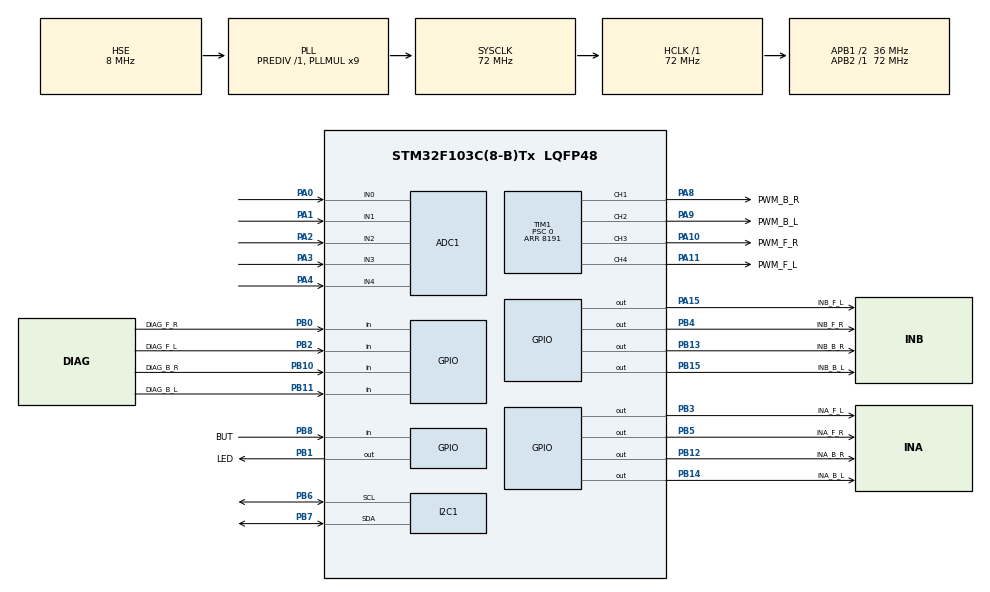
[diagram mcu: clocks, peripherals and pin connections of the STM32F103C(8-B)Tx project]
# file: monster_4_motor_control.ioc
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ADC1.Channel-0\#ChannelRegularConversion=ADC_CHANNEL_0
ADC1.Channel-1\#ChannelRegularConversion=ADC_CHANNEL_1
ADC1.Channel-2\#ChannelRegularConversion=ADC_CHANNEL_2
ADC1.Channel-3\#ChannelRegularConversion=ADC_CHANNEL_3
ADC1.Channel-4\#ChannelRegularConversion=ADC_CHANNEL_4
ADC1.ContinuousConvMode=DISABLE
ADC1.DataAlign=ADC_DATAALIGN_RIGHT
ADC1.DiscontinuousConvMode=DISABLE
ADC1.EnableAnalogWatchDog=false
ADC1.EnableRegularConversion=ENABLE
ADC1.ExternalTrigConv=ADC_SOFTWARE_START
ADC1.InjNumberOfConversion=0
ADC1.NbrOfConversion=5
ADC1.NbrOfConversionFlag=1
ADC1.Rank-0\#ChannelRegularConversion=1
ADC1.Rank-1\#ChannelRegularConversion=2
ADC1.Rank-2\#ChannelRegularConversion=3
ADC1.Rank-3\#ChannelRegularConversion=4
ADC1.Rank-4\#ChannelRegularConversion=5
ADC1.SamplingTime-0\#ChannelRegularConversion=ADC_SAMPLETIME_7CYCLES_5
ADC1.SamplingTime-1\#ChannelRegularConversion=ADC_SAMPLETIME_7CYCLES_5
ADC1.SamplingTime-2\#ChannelRegularConversion=ADC_SAMPLETIME_7CYCLES_5
ADC1.SamplingTime-3\#ChannelRegularConversion=ADC_SAMPLETIME_7CYCLES_5
ADC1.SamplingTime-4\#ChannelRegularConversion=ADC_SAMPLETIME_7CYCLES_5
ADC1.ScanConvMode=ADC_SCAN_ENABLE
ADC1.master=1
Dma.ADC1.0.Direction=DMA_PERIPH_TO_MEMORY
Dma.ADC1.0.Instance=DMA1_Channel1
Dma.ADC1.0.MemDataAlignment=DMA_MDATAALIGN_HALFWORD
Dma.ADC1.0.MemInc=DMA_MINC_ENABLE
Dma.ADC1.0.Mode=DMA_NORMAL
Dma.ADC1.0.PeriphDataAlignment=DMA_PDATAALIGN_HALFWORD
Dma.ADC1.0.PeriphInc=DMA_PINC_DISABLE
Dma.ADC1.0.Priority=DMA_PRIORITY_LOW
Dma.Request0=ADC1
FREERTOS.BinarySemaphores01=SysIdBinarySem,Static,SysIdBinarySemControlBlock;ControlBinarySem,Static,ControlBinarySemControlBlock;i2cBinarySem,Static,i2cBinarySemControlBlock
FREERTOS.INCLUDE_vTaskDelayUntil=0
FREERTOS.MEMORY_ALLOCATION=1
FREERTOS.Tasks01=ControlTask,1,512,StartControlTask,Default,NULL,Static,ControlTaskBuffer,ControlTaskControlBlock;SysIdTask,0,1024,StartSysIdTask,Default,NULL,Static,SysIdTaskBuffer,SysIdTaskControlBlock;I2CTask,-1,256,StartI2CTask,Default,NULL,Static,I2CTaskBuffer,I2CTaskControlBlock
I2C1.GeneralCallMode=I2C_GENERALCALL_ENABLE
I2C1.OwnAddress=15
Mcu.Family=STM32F1
Mcu.Name=STM32F103C(8-B)Tx
Mcu.Package=LQFP48
NVIC.DMA1_Channel1_IRQn=true\:5\:0\:false\:false\:true\:true\:false
NVIC.I2C1_ER_IRQn=true\:5\:0\:false\:false\:true\:true\:true
NVIC.I2C1_EV_IRQn=true\:5\:0\:false\:false\:true\:true\:true
NVIC.PriorityGroup=NVIC_PRIORITYGROUP_4
NVIC.TIM3_IRQn=true\:5\:0\:false\:false\:true\:true\:true
NVIC.TIM4_IRQn=true\:0\:0\:false\:false\:true\:false\:false
NVIC.TimeBase=TIM4_IRQn
NVIC.TimeBaseIP=TIM4
PA0-WKUP.Signal=ADCx_IN0
PA1.Signal=ADCx_IN1
PA10.GPIO_Label=PWM_F_R
PA10.GPIO_Speed=GPIO_SPEED_FREQ_MEDIUM
PA10.Signal=S_TIM1_CH3
PA11.GPIO_Label=PWM_F_L
PA11.GPIO_Speed=GPIO_SPEED_FREQ_MEDIUM
PA11.Signal=S_TIM1_CH4
PA13.Mode=Serial_Wire
PA13.Signal=SYS_JTMS-SWDIO
PA14.Mode=Serial_Wire
PA14.Signal=SYS_JTCK-SWCLK
PA15.GPIO_Label=INB_F_L
PA15.Signal=GPIO_Output
PA2.Signal=ADCx_IN2
PA3.Signal=ADCx_IN3
PA4.Signal=ADCx_IN4
PA8.GPIO_Label=PWM_B_R
PA8.GPIO_Speed=GPIO_SPEED_FREQ_MEDIUM
PA8.Signal=S_TIM1_CH1
PA9.GPIO_Label=PWM_B_L
PA9.GPIO_Speed=GPIO_SPEED_FREQ_MEDIUM
PA9.Signal=S_TIM1_CH2
PB0.GPIO_Label=DIAG_F_R
PB0.Signal=GPIO_Input
PB1.GPIO_Label=LED
PB1.Signal=GPIO_Output
PB10.GPIO_Label=DIAG_B_R
PB10.Signal=GPIO_Input
PB11.GPIO_Label=DIAG_B_L
PB11.Signal=GPIO_Input
PB12.GPIO_Label=INA_B_R
PB12.Signal=GPIO_Output
PB13.GPIO_Label=INB_B_R
PB13.Signal=GPIO_Output
PB14.GPIO_Label=INA_B_L
PB14.Signal=GPIO_Output
PB15.GPIO_Label=INB_B_L
PB15.Signal=GPIO_Output
PB2.GPIO_Label=DIAG_F_L
PB2.Signal=GPIO_Input
PB3.GPIO_Label=INA_F_L
PB3.Signal=GPIO_Output
PB4.GPIO_Label=INB_F_R
PB4.Signal=GPIO_Output
PB5.GPIO_Label=INA_F_R
PB5.Signal=GPIO_Output
PB6.Mode=I2C
PB6.Signal=I2C1_SCL
PB7.Mode=I2C
PB7.Signal=I2C1_SDA
PB8.GPIO_Label=BUT
PB8.Signal=GPIO_Input
PD0-OSC_IN.Mode=HSE-External-Oscillator
PD0-OSC_IN.Signal=RCC_OSC_IN
PD1-OSC_OUT.Mode=HSE-External-Oscillator
PD1-OSC_OUT.Signal=RCC_OSC_OUT
ProjectManager.HeapSize=0x200
ProjectManager.StackSize=0x400
ProjectManager.TargetToolchain=MDK-ARM V5
RCC.ADCPresc=RCC_ADCPCLK2_DIV6
RCC.AHBFreq_Value=72000000
RCC.APB1CLKDivider=RCC_HCLK_DIV2
RCC.APB1Freq_Value=36000000
RCC.APB1TimFreq_Value=72000000
RCC.APB2Freq_Value=72000000
RCC.APB2TimFreq_Value=72000000
RCC.HCLKFreq_Value=72000000
RCC.PLLMUL=RCC_PLL_MUL9
RCC.PLLSourceVirtual=RCC_PLLSOURCE_HSE
RCC.SYSCLKFreq_VALUE=72000000
RCC.SYSCLKSource=RCC_SYSCLKSOURCE_PLLCLK
RCC.USBFreq_Value=72000000
SH.ADCx_IN0.0=ADC1_IN0,IN0
SH.ADCx_IN1.0=ADC1_IN1,IN1
SH.ADCx_IN2.0=ADC1_IN2,IN2
SH.ADCx_IN3.0=ADC1_IN3,IN3
SH.ADCx_IN4.0=ADC1_IN4,IN4
SH.S_TIM1_CH1.0=TIM1_CH1,PWM Generation1 CH1
SH.S_TIM1_CH2.0=TIM1_CH2,PWM Generation2 CH2
SH.S_TIM1_CH3.0=TIM1_CH3,PWM Generation3 CH3
SH.S_TIM1_CH4.0=TIM1_CH4,PWM Generation4 CH4
TIM1.Channel-PWM\ Generation1\ CH1=TIM_CHANNEL_1
TIM1.Channel-PWM\ Generation2\ CH2=TIM_CHANNEL_2
TIM1.Channel-PWM\ Generation3\ CH3=TIM_CHANNEL_3
TIM1.Channel-PWM\ Generation4\ CH4=TIM_CHANNEL_4
TIM1.Period=8191
TIM1.Prescaler=0
TIM3.Period=35999
TIM3.Prescaler=1
TIM3.TIM_MasterOutputTrigger=TIM_TRGO_UPDATE
TIM3.TIM_MasterSlaveMode=TIM_MASTERSLAVEMODE_DISABLE
VP_FREERTOS_VS_ENABLE.Mode=Enabled
VP_SYS_VS_tim4.Mode=TIM4
VP_TIM3_VS_ClockSourceINT.Mode=Internal
board=monster_4_motor_control

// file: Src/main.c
/**
  ******************************************************************************
  * File Name          : main.c
  * Description        : Main program body
  ******************************************************************************
  * This notice applies to any and all portions of this file
  * that are not between comment pairs USER CODE BEGIN and
  * USER CODE END. Other portions of this file, whether
  * inserted by the user or by software development tools
  * are owned by their respective copyright owners.
  *
  * Copyright (c) 2018 STMicroelectronics International N.V.
  * All rights reserved.
  *
  * Redistribution and use in source and binary forms, with or without
  * modification, are permitted, provided that the following conditions are met:
  *
  * 1. Redistribution of source code must retain the above copyright notice,
  *    this list of conditions and the following disclaimer.
  * 2. Redistributions in binary form must reproduce the above copyright notice,
  *    this list of conditions and the following disclaimer in the documentation
  *    and/or other materials provided with the distribution.
  * 3. Neither the name of STMicroelectronics nor the names of other
  *    contributors to this software may be used to endorse or promote products
  *    derived from this software without specific written permission.
  * 4. This software, including modifications and/or derivative works of this
  *    software, must execute solely and exclusively on microcontroller or
  *    microprocessor devices manufactured by or for STMicroelectronics.
  * 5. Redistribution and use of this software other than as permitted under
  *    this license is void and will automatically terminate your rights under
  *    this license.
  *
  * THIS SOFTWARE IS PROVIDED BY STMICROELECTRONICS AND CONTRIBUTORS "AS IS"
  * AND ANY EXPRESS, IMPLIED OR STATUTORY WARRANTIES, INCLUDING, BUT NOT
  * LIMITED TO, THE IMPLIED WARRANTIES OF MERCHANTABILITY, FITNESS FOR A
  * PARTICULAR PURPOSE AND NON-INFRINGEMENT OF THIRD PARTY INTELLECTUAL PROPERTY
  * RIGHTS ARE DISCLAIMED TO THE FULLEST EXTENT PERMITTED BY LAW. IN NO EVENT
  * SHALL STMICROELECTRONICS OR CONTRIBUTORS BE LIABLE FOR ANY DIRECT, INDIRECT,
  * INCIDENTAL, SPECIAL, EXEMPLARY, OR CONSEQUENTIAL DAMAGES (INCLUDING, BUT NOT
  * LIMITED TO, PROCUREMENT OF SUBSTITUTE GOODS OR SERVICES; LOSS OF USE, DATA,
  * OR PROFITS; OR BUSINESS INTERRUPTION) HOWEVER CAUSED AND ON ANY THEORY OF
  * LIABILITY, WHETHER IN CONTRACT, STRICT LIABILITY, OR TORT (INCLUDING
  * NEGLIGENCE OR OTHERWISE) ARISING IN ANY WAY OUT OF THE USE OF THIS SOFTWARE,
  * EVEN IF ADVISED OF THE POSSIBILITY OF SUCH DAMAGE.
  *
  ******************************************************************************
  */

#include "main.h"
#include "stm32f1xx_hal.h"
#include "cmsis_os.h"

/* USER CODE BEGIN Includes */
#define ARM_MATH_CM3
#include "arm_math.h"
/* USER CODE END Includes */

ADC_HandleTypeDef hadc1;
DMA_HandleTypeDef hdma_adc1;

I2C_HandleTypeDef hi2c1;

TIM_HandleTypeDef htim1;
TIM_HandleTypeDef htim3;

osThreadId ControlTaskHandle;
uint32_t ControlTaskBuffer[ 512 ];
osStaticThreadDef_t ControlTaskControlBlock;
osThreadId SysIdTaskHandle;
uint32_t SysIdTaskBuffer[ 1024 ];
osStaticThreadDef_t SysIdTaskControlBlock;
osThreadId I2CTaskHandle;
uint32_t I2CTaskBuffer[ 256 ];
osStaticThreadDef_t I2CTaskControlBlock;
osSemaphoreId SysIdBinarySemHandle;
osStaticSemaphoreDef_t SysIdBinarySemControlBlock;
osSemaphoreId ControlBinarySemHandle;
osStaticSemaphoreDef_t ControlBinarySemControlBlock;
osSemaphoreId i2cBinarySemHandle;
osStaticSemaphoreDef_t i2cBinarySemControlBlock;

/* USER CODE BEGIN PV */
/* Private variables ---------------------------------------------------------*/
enum MOTOR_enum {
	MOTOR_B_R,
	MOTOR_B_L,
	MOTOR_F_R,
	MOTOR_F_L,

	MOTOR_MAX,
	SCAN_MAX,
};
enum MONSTER_K {
	K_B,
	K_A,

	K_MAX,
};
enum W_PARAMS {
	THETA,
	A,
	B,

	PARAMS_MAX,
};
enum PID {
	P,
	I,
	D,

	PID_MAX
};

enum DATA_enum {
	BEMF_B_R,
	BEMF_B_L,
	BEMF_F_R,
	BEMF_F_L,

	REF_B_R,
	REF_B_L,
	REF_F_R,
	REF_F_L,

	VEL_B_R,
	VEL_B_L,
	VEL_F_R,
	VEL_F_L,

	VEL_EST_B_R,
	VEL_EST_B_L,
	VEL_EST_F_R,
	VEL_EST_F_L,

	PID_KP_B_R,
	PID_KI_B_R,
	PID_KD_B_R,
	PID_KP_B_L,
	PID_KI_B_L,
	PID_KD_B_L,
	PID_KP_F_R,
	PID_KI_F_R,
	PID_KD_F_R,
	PID_KP_F_L,
	PID_KI_F_L,
	PID_KD_F_L,

	DATA_MAX,
};
struct Data{
	float32_t bemf_mV[MOTOR_MAX];
	float32_t r_global[MOTOR_MAX];	// vel desired in rad/s
	float32_t d_global[MOTOR_MAX];	// vel estimation in rad/s
	float32_t y_est[MOTOR_MAX];
	float32_t pid_k[MOTOR_MAX][PID_MAX];
};
union DataMem {
	float32_t data_buffer[DATA_MAX];
	struct Data data;
} data_mem;

float32_t pid_e[MOTOR_MAX][PID_MAX] = {	{0.0, 0.0, 0.0}, \
																				{0.0, 0.0, 0.0}, \
																				{0.0, 0.0, 0.0}, \
																				{0.0, 0.0, 0.0}	};
float32_t w_n[MOTOR_MAX][2] =	{	{0.188, 0.776}, \
																{0.188, 0.776}, \
																{0.188, 0.776}, \
																{0.188, 0.776}	};
uint16_t r_motor_mOhm[MOTOR_MAX] = {1500, 1100, 1200, 1300};
uint16_t monster_k[MOTOR_MAX][K_MAX] = {{9427, 12650}, {2108, 4322}, {0, 0}, {0, 0}};
uint16_t r_sense_Ohm = 1500;
volatile uint16_t adc_scan[SCAN_MAX] = {0, 0, 0, 0};
volatile uint16_t adc_scan_avg[SCAN_MAX] = {0, 0, 0, 0};
float32_t u_n_global[MOTOR_MAX][2] = {{0.0, 0.0}, \
																			{0.0, 0.0}, \
																			{0.0, 0.0}, \
																			{0.0, 0.0}};
/* USER CODE END PV */

void SystemClock_Config(void);
static void MX_GPIO_Init(void);
static void MX_DMA_Init(void);
static void MX_ADC1_Init(void);
static void MX_TIM1_Init(void);
static void MX_TIM3_Init(void);
static void MX_I2C1_Init(void);
void StartControlTask(void const * argument);
void StartSysIdTask(void const * argument);
void StartI2CTask(void const * argument);

void HAL_TIM_MspPostInit(TIM_HandleTypeDef *htim);

/* USER CODE BEGIN PFP */
/* Private function prototypes -----------------------------------------------*/

/* USER CODE END PFP */

int main(void)
{

  /* USER CODE BEGIN 1 */
	arm_fill_f32(0.0, data_mem.data.bemf_mV, MOTOR_MAX);
	arm_fill_f32(0.0, data_mem.data.r_global, MOTOR_MAX);
	arm_fill_f32(0.0, data_mem.data.d_global, MOTOR_MAX);
	arm_fill_f32(0.0, data_mem.data.y_est, MOTOR_MAX);
	float32_t pid[] = {1.0, 75.0, 0.005};
	arm_copy_f32 (pid, data_mem.data.pid_k[0], PID_MAX);
	arm_copy_f32 (pid, data_mem.data.pid_k[1], PID_MAX);
	arm_copy_f32 (pid, data_mem.data.pid_k[2], PID_MAX);
	arm_copy_f32 (pid, data_mem.data.pid_k[3], PID_MAX);
  /* USER CODE END 1 */

  /* MCU Configuration----------------------------------------------------------*/

  /* Reset of all peripherals, Initializes the Flash interface and the Systick. */
  HAL_Init();

  /* Configure the system clock */
  SystemClock_Config();

  /* Initialize all configured peripherals */
  MX_GPIO_Init();
  MX_DMA_Init();
  MX_ADC1_Init();
  MX_TIM1_Init();
  MX_TIM3_Init();
  MX_I2C1_Init();

  /* Create the semaphores(s) */
  /* definition and creation of SysIdBinarySem */
  osSemaphoreStaticDef(SysIdBinarySem, &SysIdBinarySemControlBlock);
  SysIdBinarySemHandle = osSemaphoreCreate(osSemaphore(SysIdBinarySem), 1);

  /* definition and creation of ControlBinarySem */
  osSemaphoreStaticDef(ControlBinarySem, &ControlBinarySemControlBlock);
  ControlBinarySemHandle = osSemaphoreCreate(osSemaphore(ControlBinarySem), 1);

  /* definition and creation of i2cBinarySem */
  osSemaphoreStaticDef(i2cBinarySem, &i2cBinarySemControlBlock);
  i2cBinarySemHandle = osSemaphoreCreate(osSemaphore(i2cBinarySem), 1);

  /* Create the thread(s) */
  /* definition and creation of ControlTask */
  osThreadStaticDef(ControlTask, StartControlTask, osPriorityAboveNormal, 0, 512, ControlTaskBuffer, &ControlTaskControlBlock);
  ControlTaskHandle = osThreadCreate(osThread(ControlTask), NULL);

  /* definition and creation of SysIdTask */
  osThreadStaticDef(SysIdTask, StartSysIdTask, osPriorityNormal, 0, 1024, SysIdTaskBuffer, &SysIdTaskControlBlock);
  SysIdTaskHandle = osThreadCreate(osThread(SysIdTask), NULL);

  /* definition and creation of I2CTask */
  osThreadStaticDef(I2CTask, StartI2CTask, osPriorityBelowNormal, 0, 256, I2CTaskBuffer, &I2CTaskControlBlock);
  I2CTaskHandle = osThreadCreate(osThread(I2CTask), NULL);

  /* Start scheduler */
  osKernelStart();

  /* We should never get here as control is now taken by the scheduler */

  /* Infinite loop */
  while (1)
  {

  }

}

/** System Clock Configuration
*/
void SystemClock_Config(void)
{

  RCC_OscInitTypeDef RCC_OscInitStruct;
  RCC_ClkInitTypeDef RCC_ClkInitStruct;
  RCC_PeriphCLKInitTypeDef PeriphClkInit;

    /**Initializes the CPU, AHB and APB busses clocks
    */
  RCC_OscInitStruct.OscillatorType = RCC_OSCILLATORTYPE_HSE;
  RCC_OscInitStruct.HSEState = RCC_HSE_ON;
  RCC_OscInitStruct.HSEPredivValue = RCC_HSE_PREDIV_DIV1;
  RCC_OscInitStruct.HSIState = RCC_HSI_ON;
  RCC_OscInitStruct.PLL.PLLState = RCC_PLL_ON;
  RCC_OscInitStruct.PLL.PLLSource = RCC_PLLSOURCE_HSE;
  RCC_OscInitStruct.PLL.PLLMUL = RCC_PLL_MUL9;
  if (HAL_RCC_OscConfig(&RCC_OscInitStruct) != HAL_OK)
  {
    _Error_Handler(__FILE__, __LINE__);
  }

    /**Initializes the CPU, AHB and APB busses clocks
    */
  RCC_ClkInitStruct.ClockType = RCC_CLOCKTYPE_HCLK|RCC_CLOCKTYPE_SYSCLK
                              |RCC_CLOCKTYPE_PCLK1|RCC_CLOCKTYPE_PCLK2;
  RCC_ClkInitStruct.SYSCLKSource = RCC_SYSCLKSOURCE_PLLCLK;
  RCC_ClkInitStruct.AHBCLKDivider = RCC_SYSCLK_DIV1;
  RCC_ClkInitStruct.APB1CLKDivider = RCC_HCLK_DIV2;
  RCC_ClkInitStruct.APB2CLKDivider = RCC_HCLK_DIV1;

  if (HAL_RCC_ClockConfig(&RCC_ClkInitStruct, FLASH_LATENCY_2) != HAL_OK)
  {
    _Error_Handler(__FILE__, __LINE__);
  }

  PeriphClkInit.PeriphClockSelection = RCC_PERIPHCLK_ADC;
  PeriphClkInit.AdcClockSelection = RCC_ADCPCLK2_DIV6;
  if (HAL_RCCEx_PeriphCLKConfig(&PeriphClkInit) != HAL_OK)
  {
    _Error_Handler(__FILE__, __LINE__);
  }

    /**Configure the Systick interrupt time
    */
  HAL_SYSTICK_Config(HAL_RCC_GetHCLKFreq()/1000);

    /**Configure the Systick
    */
  HAL_SYSTICK_CLKSourceConfig(SYSTICK_CLKSOURCE_HCLK);

  /* SysTick_IRQn interrupt configuration */
  HAL_NVIC_SetPriority(SysTick_IRQn, 15, 0);
}

/* ADC1 init function */
static void MX_ADC1_Init(void)
{

  ADC_ChannelConfTypeDef sConfig;

    /**Common config
    */
  hadc1.Instance = ADC1;
  hadc1.Init.ScanConvMode = ADC_SCAN_ENABLE;
  hadc1.Init.ContinuousConvMode = DISABLE;
  hadc1.Init.DiscontinuousConvMode = DISABLE;
  hadc1.Init.ExternalTrigConv = ADC_SOFTWARE_START;
  hadc1.Init.DataAlign = ADC_DATAALIGN_RIGHT;
  hadc1.Init.NbrOfConversion = 5;
  if (HAL_ADC_Init(&hadc1) != HAL_OK)
  {
    _Error_Handler(__FILE__, __LINE__);
  }

    /**Configure Regular Channel
    */
  sConfig.Channel = ADC_CHANNEL_0;
  sConfig.Rank = 1;
  sConfig.SamplingTime = ADC_SAMPLETIME_7CYCLES_5;
  if (HAL_ADC_ConfigChannel(&hadc1, &sConfig) != HAL_OK)
  {
    _Error_Handler(__FILE__, __LINE__);
  }

    /**Configure Regular Channel
    */
  sConfig.Channel = ADC_CHANNEL_1;
  sConfig.Rank = 2;
  if (HAL_ADC_ConfigChannel(&hadc1, &sConfig) != HAL_OK)
  {
    _Error_Handler(__FILE__, __LINE__);
  }

    /**Configure Regular Channel
    */
  sConfig.Channel = ADC_CHANNEL_2;
  sConfig.Rank = 3;
  if (HAL_ADC_ConfigChannel(&hadc1, &sConfig) != HAL_OK)
  {
    _Error_Handler(__FILE__, __LINE__);
  }

    /**Configure Regular Channel
    */
  sConfig.Channel = ADC_CHANNEL_3;
  sConfig.Rank = 4;
  if (HAL_ADC_ConfigChannel(&hadc1, &sConfig) != HAL_OK)
  {
    _Error_Handler(__FILE__, __LINE__);
  }

    /**Configure Regular Channel
    */
  sConfig.Channel = ADC_CHANNEL_4;
  sConfig.Rank = 5;
  if (HAL_ADC_ConfigChannel(&hadc1, &sConfig) != HAL_OK)
  {
    _Error_Handler(__FILE__, __LINE__);
  }

}

/* I2C1 init function */
static void MX_I2C1_Init(void)
{

  hi2c1.Instance = I2C1;
  hi2c1.Init.ClockSpeed = 100000;
  hi2c1.Init.DutyCycle = I2C_DUTYCYCLE_2;
  hi2c1.Init.OwnAddress1 = 30;
  hi2c1.Init.AddressingMode = I2C_ADDRESSINGMODE_7BIT;
  hi2c1.Init.DualAddressMode = I2C_DUALADDRESS_DISABLE;
  hi2c1.Init.OwnAddress2 = 0;
  hi2c1.Init.GeneralCallMode = I2C_GENERALCALL_ENABLE;
  hi2c1.Init.NoStretchMode = I2C_NOSTRETCH_DISABLE;
  if (HAL_I2C_Init(&hi2c1) != HAL_OK)
  {
    _Error_Handler(__FILE__, __LINE__);
  }

}

/* TIM1 init function */
static void MX_TIM1_Init(void)
{

  TIM_MasterConfigTypeDef sMasterConfig;
  TIM_OC_InitTypeDef sConfigOC;
  TIM_BreakDeadTimeConfigTypeDef sBreakDeadTimeConfig;

  htim1.Instance = TIM1;
  htim1.Init.Prescaler = 0;
  htim1.Init.CounterMode = TIM_COUNTERMODE_UP;
  htim1.Init.Period = 8191;
  htim1.Init.ClockDivision = TIM_CLOCKDIVISION_DIV1;
  htim1.Init.RepetitionCounter = 0;
  htim1.Init.AutoReloadPreload = TIM_AUTORELOAD_PRELOAD_DISABLE;
  if (HAL_TIM_PWM_Init(&htim1) != HAL_OK)
  {
    _Error_Handler(__FILE__, __LINE__);
  }

  sMasterConfig.MasterOutputTrigger = TIM_TRGO_RESET;
  sMasterConfig.MasterSlaveMode = TIM_MASTERSLAVEMODE_DISABLE;
  if (HAL_TIMEx_MasterConfigSynchronization(&htim1, &sMasterConfig) != HAL_OK)
  {
    _Error_Handler(__FILE__, __LINE__);
  }

  sConfigOC.OCMode = TIM_OCMODE_PWM1;
  sConfigOC.Pulse = 0;
  sConfigOC.OCPolarity = TIM_OCPOLARITY_HIGH;
  sConfigOC.OCNPolarity = TIM_OCNPOLARITY_HIGH;
  sConfigOC.OCFastMode = TIM_OCFAST_DISABLE;
  sConfigOC.OCIdleState = TIM_OCIDLESTATE_RESET;
  sConfigOC.OCNIdleState = TIM_OCNIDLESTATE_RESET;
  if (HAL_TIM_PWM_ConfigChannel(&htim1, &sConfigOC, TIM_CHANNEL_1) != HAL_OK)
  {
    _Error_Handler(__FILE__, __LINE__);
  }

  if (HAL_TIM_PWM_ConfigChannel(&htim1, &sConfigOC, TIM_CHANNEL_2) != HAL_OK)
  {
    _Error_Handler(__FILE__, __LINE__);
  }

  if (HAL_TIM_PWM_ConfigChannel(&htim1, &sConfigOC, TIM_CHANNEL_3) != HAL_OK)
  {
    _Error_Handler(__FILE__, __LINE__);
  }

  if (HAL_TIM_PWM_ConfigChannel(&htim1, &sConfigOC, TIM_CHANNEL_4) != HAL_OK)
  {
    _Error_Handler(__FILE__, __LINE__);
  }

  sBreakDeadTimeConfig.OffStateRunMode = TIM_OSSR_DISABLE;
  sBreakDeadTimeConfig.OffStateIDLEMode = TIM_OSSI_DISABLE;
  sBreakDeadTimeConfig.LockLevel = TIM_LOCKLEVEL_OFF;
  sBreakDeadTimeConfig.DeadTime = 0;
  sBreakDeadTimeConfig.BreakState = TIM_BREAK_DISABLE;
  sBreakDeadTimeConfig.BreakPolarity = TIM_BREAKPOLARITY_HIGH;
  sBreakDeadTimeConfig.AutomaticOutput = TIM_AUTOMATICOUTPUT_DISABLE;
  if (HAL_TIMEx_ConfigBreakDeadTime(&htim1, &sBreakDeadTimeConfig) != HAL_OK)
  {
    _Error_Handler(__FILE__, __LINE__);
  }

  HAL_TIM_MspPostInit(&htim1);

}

/* TIM3 init function */
static void MX_TIM3_Init(void)
{

  TIM_ClockConfigTypeDef sClockSourceConfig;
  TIM_MasterConfigTypeDef sMasterConfig;

  htim3.Instance = TIM3;
  htim3.Init.Prescaler = 1;
  htim3.Init.CounterMode = TIM_COUNTERMODE_UP;
  htim3.Init.Period = 35999;
  htim3.Init.ClockDivision = TIM_CLOCKDIVISION_DIV1;
  htim3.Init.AutoReloadPreload = TIM_AUTORELOAD_PRELOAD_DISABLE;
  if (HAL_TIM_Base_Init(&htim3) != HAL_OK)
  {
    _Error_Handler(__FILE__, __LINE__);
  }

  sClockSourceConfig.ClockSource = TIM_CLOCKSOURCE_INTERNAL;
  if (HAL_TIM_ConfigClockSource(&htim3, &sClockSourceConfig) != HAL_OK)
  {
    _Error_Handler(__FILE__, __LINE__);
  }

  sMasterConfig.MasterOutputTrigger = TIM_TRGO_UPDATE;
  sMasterConfig.MasterSlaveMode = TIM_MASTERSLAVEMODE_DISABLE;
  if (HAL_TIMEx_MasterConfigSynchronization(&htim3, &sMasterConfig) != HAL_OK)
  {
    _Error_Handler(__FILE__, __LINE__);
  }

}

static void MX_DMA_Init(void)
{
  /* DMA controller clock enable */
  __HAL_RCC_DMA1_CLK_ENABLE();

  /* DMA interrupt init */
  /* DMA1_Channel1_IRQn interrupt configuration */
  HAL_NVIC_SetPriority(DMA1_Channel1_IRQn, 5, 0);
  HAL_NVIC_EnableIRQ(DMA1_Channel1_IRQn);

}

/** Configure pins as
        * Analog
        * Input
        * Output
        * EVENT_OUT
        * EXTI
        * Free pins are configured automatically as Analog (this feature is enabled through
        * the Code Generation settings)
*/
static void MX_GPIO_Init(void)
{

  GPIO_InitTypeDef GPIO_InitStruct;

  /* GPIO Ports Clock Enable */
  __HAL_RCC_GPIOC_CLK_ENABLE();
  __HAL_RCC_GPIOD_CLK_ENABLE();
  __HAL_RCC_GPIOA_CLK_ENABLE();
  __HAL_RCC_GPIOB_CLK_ENABLE();

  /*Configure GPIO pin Output Level */
  HAL_GPIO_WritePin(GPIOB, LED_Pin|INA_B_R_Pin|INB_B_R_Pin|INA_B_L_Pin
                          |INB_B_L_Pin|INA_F_L_Pin|INB_F_R_Pin|INA_F_R_Pin, GPIO_PIN_RESET);

  /*Configure GPIO pin Output Level */
  HAL_GPIO_WritePin(INB_F_L_GPIO_Port, INB_F_L_Pin, GPIO_PIN_RESET);

  /*Configure GPIO pins : PC13 PC14 PC15 */
  GPIO_InitStruct.Pin = GPIO_PIN_13|GPIO_PIN_14|GPIO_PIN_15;
  GPIO_InitStruct.Mode = GPIO_MODE_ANALOG;
  HAL_GPIO_Init(GPIOC, &GPIO_InitStruct);

  /*Configure GPIO pins : PA5 PA6 PA7 PA12 */
  GPIO_InitStruct.Pin = GPIO_PIN_5|GPIO_PIN_6|GPIO_PIN_7|GPIO_PIN_12;
  GPIO_InitStruct.Mode = GPIO_MODE_ANALOG;
  HAL_GPIO_Init(GPIOA, &GPIO_InitStruct);

  /*Configure GPIO pins : DIAG_F_R_Pin DIAG_F_L_Pin DIAG_B_R_Pin DIAG_B_L_Pin
                           BUT_Pin */
  GPIO_InitStruct.Pin = DIAG_F_R_Pin|DIAG_F_L_Pin|DIAG_B_R_Pin|DIAG_B_L_Pin
                          |BUT_Pin;
  GPIO_InitStruct.Mode = GPIO_MODE_INPUT;
  GPIO_InitStruct.Pull = GPIO_NOPULL;
  HAL_GPIO_Init(GPIOB, &GPIO_InitStruct);

  /*Configure GPIO pins : LED_Pin INA_B_R_Pin INB_B_R_Pin INA_B_L_Pin
                           INB_B_L_Pin INA_F_L_Pin INB_F_R_Pin INA_F_R_Pin */
  GPIO_InitStruct.Pin = LED_Pin|INA_B_R_Pin|INB_B_R_Pin|INA_B_L_Pin
                          |INB_B_L_Pin|INA_F_L_Pin|INB_F_R_Pin|INA_F_R_Pin;
  GPIO_InitStruct.Mode = GPIO_MODE_OUTPUT_PP;
  GPIO_InitStruct.Speed = GPIO_SPEED_FREQ_LOW;
  HAL_GPIO_Init(GPIOB, &GPIO_InitStruct);

  /*Configure GPIO pin : INB_F_L_Pin */
  GPIO_InitStruct.Pin = INB_F_L_Pin;
  GPIO_InitStruct.Mode = GPIO_MODE_OUTPUT_PP;
  GPIO_InitStruct.Speed = GPIO_SPEED_FREQ_LOW;
  HAL_GPIO_Init(INB_F_L_GPIO_Port, &GPIO_InitStruct);

  /*Configure GPIO pin : PB9 */
  GPIO_InitStruct.Pin = GPIO_PIN_9;
  GPIO_InitStruct.Mode = GPIO_MODE_ANALOG;
  HAL_GPIO_Init(GPIOB, &GPIO_InitStruct);

}

/* USER CODE BEGIN 4 */

/**
  * @brief  Conversion complete callback in non blocking mode
  * @param  AdcHandle : AdcHandle handle
  * @note   This example shows a simple way to report end of conversion
  *         and get conversion result. You can add your own implementation.
  * @retval None
  */
void HAL_ADC_ConvCpltCallback(ADC_HandleTypeDef *AdcHandle)
{
	volatile static uint8_t cnt = 0;
	volatile static uint16_t adc_scan_sum[SCAN_MAX] = {0, 0, 0, 0};

	if (AdcHandle->Instance == ADC1) {
		for (uint8_t i = 0; i < SCAN_MAX; i++)
			adc_scan_sum[i] += adc_scan[i];
		cnt++;
		if (cnt >= 10) {
			for (uint8_t i = 0; i < SCAN_MAX; i++) {
				adc_scan_avg[i] = adc_scan_sum[i] / cnt;
				adc_scan_sum[i] = 0;
			}
			cnt = 0;
			osSemaphoreRelease(ControlBinarySemHandle);
		}
	}
}

void HAL_I2C_SlaveRxCpltCallback(I2C_HandleTypeDef *  hi2c) {
	if (HAL_I2C_GetState(&hi2c1) == HAL_I2C_STATE_READY) {
		osSemaphoreRelease(i2cBinarySemHandle);
	}
}

void HAL_I2C_SlaveTxCpltCallback(I2C_HandleTypeDef *  hi2c) {
	if (HAL_I2C_GetState(&hi2c1) == HAL_I2C_STATE_READY) {
		osSemaphoreRelease(i2cBinarySemHandle);
	}
}

GPIO_TypeDef *getPort(uint8_t i) {
	switch(i) {
		case MOTOR_B_R:
			return INA_B_R_GPIO_Port;
		case MOTOR_B_L:
			return INA_B_L_GPIO_Port;
		case MOTOR_F_R:
			return INA_F_R_GPIO_Port;
		case MOTOR_F_L:
			return INA_F_L_GPIO_Port;
		default:
			return 0;
	}
}

uint16_t getPin(uint8_t i) {
	switch(i) {
		case MOTOR_B_R:
			return INA_B_R_Pin;
		case MOTOR_B_L:
			return INA_B_L_Pin;
		case MOTOR_F_R:
			return INA_F_R_Pin;
		case MOTOR_F_L:
			return INA_F_L_Pin;
		default:
			return 0;
	}
}

/* USER CODE END 4 */

/* StartControlTask function */
void StartControlTask(void const * argument)
{

  /* USER CODE BEGIN 5 */
	uint8_t i, j;
	float32_t aux1, aux2, aux3;
	float32_t u[MOTOR_MAX] = {0.0, 0.0, 0.0, 0.0};
	float32_t r[MOTOR_MAX] = {0.0, 0.0, 0.0, 0.0};
	float32_t a = 0.01 / (0.01 + 0.05);
	uint16_t pwm_value[MOTOR_MAX] = {0, 0, 0, 0};
	float32_t v_adc_mV[SCAN_MAX];
	float32_t v_bat_mV;
	float32_t i_motor_mA[MOTOR_MAX] = {0.0, 0.0, 0.0, 0.0};
	// float32_t bemf_mV[MOTOR_MAX] = {0.0, 0.0, 0.0, 0.0};

	HAL_ADCEx_Calibration_Start(&hadc1);
	HAL_TIM_PWM_Start(&htim1, TIM_CHANNEL_1);
	HAL_TIM_PWM_Start(&htim1, TIM_CHANNEL_2);
	HAL_TIM_PWM_Start(&htim1, TIM_CHANNEL_3);
	HAL_TIM_PWM_Start(&htim1, TIM_CHANNEL_4);
	HAL_TIM_Base_Start_IT(&htim3);

	HAL_GPIO_WritePin(INA_B_R_GPIO_Port, INA_B_R_Pin, GPIO_PIN_SET);
	HAL_GPIO_WritePin(INB_B_R_GPIO_Port, INB_B_R_Pin, GPIO_PIN_RESET);
	PWM_B_R = pwm_value[MOTOR_B_R];
	HAL_GPIO_WritePin(INA_B_L_GPIO_Port, INA_B_L_Pin, GPIO_PIN_SET);
	HAL_GPIO_WritePin(INB_B_L_GPIO_Port, INB_B_L_Pin, GPIO_PIN_RESET);
	PWM_B_L = pwm_value[MOTOR_B_L];

  /* Infinite loop */
  for(;;)
  {
		osSemaphoreWait(ControlBinarySemHandle, osWaitForever);
		HAL_GPIO_WritePin(LED_GPIO_Port, LED_Pin, GPIO_PIN_SET);

		// data update
		for (i = 0; i < MOTOR_MAX; i++) {
			u_n_global[i][1] = data_mem.data.d_global[i];
			u_n_global[i][0] = u[i];
		}

		// data measurement
		for (i = 0; i < SCAN_MAX; i++) {
			v_adc_mV[i] = adc_scan_avg[i] * 3300.0 / 4095;
		}
		v_bat_mV = v_adc_mV[MOTOR_MAX] * 13.16 / 3.3;

		for (i = 0; i < MOTOR_MAX; i++) {
			aux1 = data_mem.data.d_global[i];

			i_motor_mA[i] = v_adc_mV[i] / r_sense_Ohm;
			i_motor_mA[i] *= monster_k[i][HAL_GPIO_ReadPin(getPort(i), getPin(i))];
			data_mem.data.bemf_mV[i] = v_bat_mV * pwm_value[i] / 8191;
			data_mem.data.bemf_mV[i] -= i_motor_mA[i] * r_motor_mOhm[i] / 1000;
			data_mem.data.d_global[i] = data_mem.data.bemf_mV[i] * 2 * PI / 60;
			arm_dot_prod_f32(w_n[i], u_n_global[i], 2, &data_mem.data.y_est[i]);

			// control
			if (HAL_GPIO_ReadPin(BUT_GPIO_Port, BUT_Pin) == GPIO_PIN_SET)
				data_mem.data.r_global[i] = 850.0;
			else
				data_mem.data.r_global[i] = 650.0;

			r[i] = (1 - a) * r[i] + a * data_mem.data.r_global[i];

			pid_e[i][P] = r[i] - data_mem.data.y_est[i];
			u[i] = data_mem.data.pid_k[i][P] * pid_e[i][P];
			pid_e[i][D] = (aux1 - data_mem.data.d_global[i]) / 0.01;
			u[i] += data_mem.data.pid_k[i][D] * pid_e[i][D];
			pid_e[i][I] += pid_e[i][P] * 0.01;
			aux2 = data_mem.data.pid_k[i][I] * pid_e[i][I];
			if (aux2 > 1172.0) {
				pid_e[i][I] = 1172.0;
			}
			if (aux2 < 0.0) {
				pid_e[i][I] = 0.0;
			}
			u[i] += aux2;

			aux3 = data_mem.data.d_global[i] * 1.0;
			if (u[i] > 1172.0) {
				u[i] = 1172.0;
			}
			if (u[i] < aux3) {
				u[i] = aux3;
			}
			// u[i] = r[i];
			pwm_value[i] = (uint16_t)(u[i] * 8191 / 1172.0);
		}

		PWM_B_R = pwm_value[MOTOR_B_R];
		PWM_B_L = pwm_value[MOTOR_B_L];

		j++;
		if (j == 5) {
			j = 0;
			osSemaphoreRelease(SysIdBinarySemHandle);
		}
		HAL_GPIO_WritePin(LED_GPIO_Port, LED_Pin, GPIO_PIN_RESET);
  }
  /* USER CODE END 5 */
}

/* StartSysIdTask function */
void StartSysIdTask(void const * argument)
{
  /* USER CODE BEGIN StartSysIdTask */
	float32_t P_n[MOTOR_MAX][4] = {	{	10.0,	0.0,			\
																		0.0, 	10.0	},	\
																	{	10.0,	0.0,			\
																		0.0, 	10.0	},	\
																	{	10.0,	0.0,			\
																		0.0, 	10.0	},	\
																	{	10.0,	0.0,			\
																		0.0, 	10.0,	}	};
	float32_t u_n[MOTOR_MAX][2], k_n[2], aux41[2], aux14[2], aux44[4];
	float32_t a = 0.999, aux, e_n, y_n, d[MOTOR_MAX];
	float32_t ainv = 1/a;
	uint8_t i, j;

	arm_matrix_instance_f32 mP_n[MOTOR_MAX];
	arm_matrix_instance_f32 mk_n;
	arm_matrix_instance_f32 mu_n[MOTOR_MAX];
	arm_matrix_instance_f32 muT_n[MOTOR_MAX];
	arm_matrix_instance_f32 maux41;
	arm_matrix_instance_f32 maux14;
	arm_matrix_instance_f32 maux44;

	for (i = 0; i < MOTOR_MAX; i++) {
		arm_mat_init_f32(&mP_n[i], 2, 2, P_n[i]);
		arm_mat_init_f32(&mu_n[i], 2, 1, u_n[i]);
		arm_mat_init_f32(&muT_n[i], 1, 2, u_n[i]);
	}
	arm_mat_init_f32(&mk_n, 2, 1, k_n);
	arm_mat_init_f32(&maux41, 2, 1, aux41);
	arm_mat_init_f32(&maux14, 1, 2, aux14);
	arm_mat_init_f32(&maux44, 2, 2, aux44);

  /* Infinite loop */
  for(;;)
  {
    osSemaphoreWait(SysIdBinarySemHandle, osWaitForever);
		HAL_GPIO_WritePin(LED_GPIO_Port, LED_Pin, GPIO_PIN_SET);
		for (i = 0; i < MOTOR_MAX; i++) {
			for (j = 0; j < 2; j++) {
				u_n[i][j] = u_n_global[i][j];
			}
			d[i] = data_mem.data.d_global[i];

			//RLS motor i
			arm_mat_mult_f32(&mP_n[i], &mu_n[i], &maux41);
			arm_dot_prod_f32(u_n[i], aux41, 2, &aux);
			aux = 1/(a + aux);
			arm_scale_f32(aux41, aux, k_n, 2);

			arm_dot_prod_f32(w_n[i], u_n[i], 2, &y_n);

			e_n = d[i] - y_n;

			arm_scale_f32(k_n, e_n, aux41, 2);
			arm_add_f32(w_n[i], aux41, w_n[i], 2);

			arm_mat_mult_f32(&muT_n[i], &mP_n[i], &maux14);
			arm_mat_mult_f32(&mk_n, &maux14, &maux44);
			arm_mat_sub_f32(&mP_n[i], &maux44, &maux44);
			arm_mat_scale_f32(&maux44, ainv, &mP_n[i]);
		}
		HAL_GPIO_WritePin(LED_GPIO_Port, LED_Pin, GPIO_PIN_RESET);
  }
  /* USER CODE END StartSysIdTask */
}

/* StartI2CTask function */
void StartI2CTask(void const * argument)
{
  /* USER CODE BEGIN StartI2CTask */
	#define MASTER_REQ_READ    0x12
	#define MASTER_REQ_WRITE   0x34

	uint8_t index_pointer = 0;
  /* Buffer used for transmission */
	union {
		float32_t data;
		uint8_t buffer[4];
	} tx_data;
	/* Buffer used for reception */
	union {
		float32_t data;
		uint8_t buffer[4];
	} rx_data;
	uint8_t bTransferRequest = 0;

	HAL_StatusTypeDef status;

  /* Infinite loop */
  for(;;)
  {
		do {
			status = HAL_I2C_Slave_Receive_IT(&hi2c1, (uint8_t*)&bTransferRequest, 1);
		}
		while(status != HAL_OK);
		// osSemaphoreWait(i2cBinarySemHandle, osWaitForever);
		while (HAL_I2C_GetState(&hi2c1) != HAL_I2C_STATE_READY);

		do {
			status = HAL_I2C_Slave_Receive_IT(&hi2c1, (uint8_t*)&index_pointer, 1);
		}
		while(status != HAL_OK);
		// osSemaphoreWait(i2cBinarySemHandle, osWaitForever);
		while (HAL_I2C_GetState(&hi2c1) != HAL_I2C_STATE_READY);

		if (bTransferRequest == MASTER_REQ_WRITE) {
			do {
				status = HAL_I2C_Slave_Receive_IT(&hi2c1, (uint8_t*)rx_data.buffer, 4);
			}
			while(status != HAL_OK);
			// osSemaphoreWait(i2cBinarySemHandle, osWaitForever);
			while (HAL_I2C_GetState(&hi2c1) != HAL_I2C_STATE_READY);
			data_mem.data_buffer[index_pointer] = rx_data.data;
		}
		else  {
			tx_data.data = data_mem.data_buffer[index_pointer];
			do {
				status = HAL_I2C_Slave_Transmit_IT(&hi2c1, (uint8_t*)tx_data.buffer, 4);
			}
			while(status != HAL_OK);
			// osSemaphoreWait(i2cBinarySemHandle, osWaitForever);
			while (HAL_I2C_GetState(&hi2c1) != HAL_I2C_STATE_READY);
		}
  }
  /* USER CODE END StartI2CTask */
}

void HAL_TIM_PeriodElapsedCallback(TIM_HandleTypeDef *htim)
{
/* USER CODE BEGIN Callback 0 */
	// TIM3 callback, 1000Hz interrupt (sampling frec)
	if (htim->Instance == TIM3) {
		HAL_ADC_Start_DMA(&hadc1, (uint32_t *)adc_scan, SCAN_MAX);
	}
/* USER CODE END Callback 0 */
  if (htim->Instance == TIM4) {
    HAL_IncTick();
  }
}

void _Error_Handler(char * file, int line)
{
  while(1)
  {
  }
}

/************************ (C) COPYRIGHT STMicroelectronics *****END OF FILE****/
